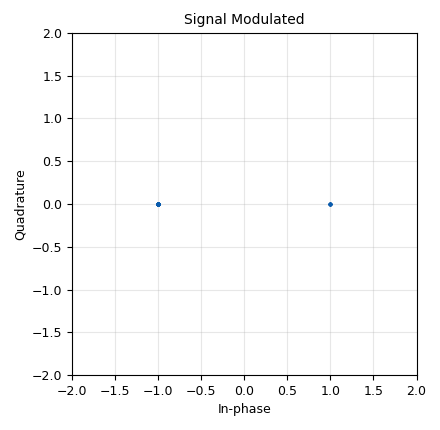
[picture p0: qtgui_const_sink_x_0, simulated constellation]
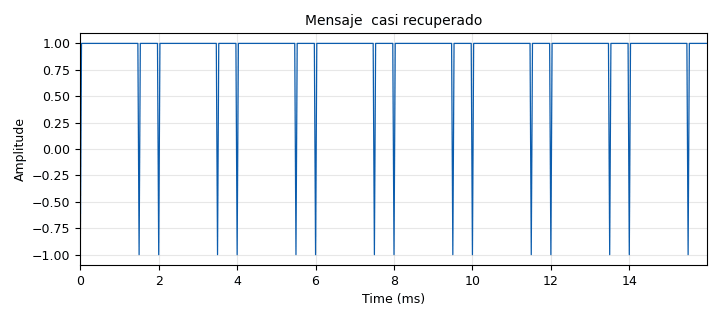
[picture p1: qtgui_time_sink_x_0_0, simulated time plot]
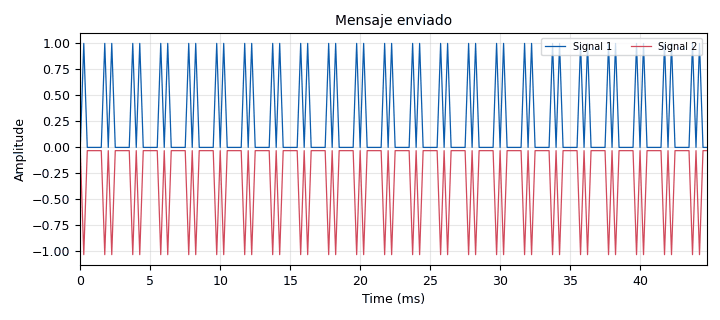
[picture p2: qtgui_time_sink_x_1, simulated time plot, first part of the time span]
options:
  parameters:
    author: Ing. Eduardo Alberto Bañales Ramirez
    description: Digital Modulation BPSK
    generate_options: qt_gui
    id: Modulation_BPSK
    output_language: python
    title: Modulation_BPSK
  states: {}

blocks:
- name: message
  id: variable
  parameters:
    value: '112'
  states: {}
- name: samp_rate
  id: variable
  parameters:
    value: '32000'
  states: {}
- name: blocks_char_to_float_0
  id: blocks_char_to_float
  parameters:
    scale: '32'
  states: {}
- name: blocks_char_to_float_0_0
  id: blocks_char_to_float
  parameters:
    scale: '1'
  states: {}
- name: blocks_char_to_float_0_0_0
  id: blocks_char_to_float
  parameters:
    scale: '1'
  states: {}
- name: blocks_char_to_float_1
  id: blocks_char_to_float
  parameters:
    scale: '1'
  states: {}
- name: blocks_complex_to_float_0
  id: blocks_complex_to_float
  parameters: {}
  states: {}
- name: blocks_delay_0
  id: blocks_delay
  parameters:
    delay: '2'
    type: float
  states: {}
- name: blocks_float_to_char_0
  id: blocks_float_to_char
  parameters:
    scale: '1'
  states: {}
- name: blocks_keep_m_in_n_0
  id: blocks_keep_m_in_n
  parameters:
    m: '1'
    n: '8'
    offset: '3'
    type: complex
  states: {}
- name: blocks_multiply_const_vxx_0
  id: blocks_multiply_const_vxx
  parameters:
    const: '-1'
    type: complex
  states: {}
- name: blocks_pack_k_bits_bb_0
  id: blocks_pack_k_bits_bb
  parameters:
    k: '8'
  states: {}
- name: blocks_repack_bits_bb_0
  id: blocks_repack_bits_bb
  parameters:
    endianness: gr.GR_MSB_FIRST
    k: '1'
    l: '8'
  states: {}
- name: blocks_throttle2_0
  id: blocks_throttle2
  parameters:
    samples_per_second: samp_rate
    type: byte
  states: {}
- name: blocks_unpack_k_bits_bb_0
  id: blocks_unpack_k_bits_bb
  parameters:
    k: '8'
  states: {}
- name: blocks_vector_source_x_0
  id: blocks_vector_source_x
  parameters:
    repeat: 'True'
    type: byte
    vector: (65,)
  states: {}
- name: channels_channel_model_0
  id: channels_channel_model
  parameters:
    epsilon: '1.0'
    freq_offset: '0.01'
    noise_voltage: '0.0'
    seed: '0'
    taps: '1.0'
  states: {}
- name: digital_binary_slicer_fb_0
  id: digital_binary_slicer_fb
  parameters: {}
  states: {}
- name: digital_constellation_modulator_0
  id: digital_constellation_modulator
  parameters:
    constellation: digital.constellation_bpsk().base()
    differential: 'False'
    excess_bw: '1'
    samples_per_symbol: '8'
  states: {}
- name: digital_costas_loop_cc_0
  id: digital_costas_loop_cc
  parameters:
    order: '2'
    w: '0.001'
  states: {}
- name: import_0
  id: import
  parameters:
    imports: import gnuradio.digital as digital
  states: {}
- name: note_0
  id: note
  parameters:
    note: coding the message
  states: {}
- name: note_1
  id: note
  parameters:
    note: '"signal successfully synchronized"'
  states: {}
- name: note_2
  id: note
  parameters:
    note: Message Recovered
  states: {}
- name: qtgui_const_sink_x_0
  id: qtgui_const_sink_x
  parameters:
    grid: 'True'
    gui_hint: qtgui_tab_widget_0@0
    name: Signal Modulated
    size: '1024'
    type: complex
  states: {}
- name: qtgui_tab_widget_0
  id: qtgui_tab_widget
  parameters:
    label0: Tab 0
    label1: Tab 1
    label2: Tab 2
    label3: Tab 3
    label4: Tab 4
    num_tabs: '5'
  states: {}
- name: qtgui_time_sink_x_0
  id: qtgui_time_sink_x
  parameters:
    autoscale: 'True'
    ctrlpanel: 'True'
    grid: 'True'
    gui_hint: qtgui_tab_widget_0@3
    name: Mensaje recuperado
    size: '512'
    srate: samp_rate
    type: float
  states: {}
- name: qtgui_time_sink_x_0_0
  id: qtgui_time_sink_x
  parameters:
    autoscale: 'True'
    ctrlpanel: 'True'
    grid: 'True'
    gui_hint: qtgui_tab_widget_0@2
    name: Mensaje  casi recuperado
    size: '512'
    srate: samp_rate
    tr_mode: qtgui.TRIG_MODE_NORM
    type: float
  states: {}
- name: qtgui_time_sink_x_1
  id: qtgui_time_sink_x
  parameters:
    autoscale: 'True'
    ctrlpanel: 'True'
    grid: 'True'
    gui_hint: qtgui_tab_widget_0@1
    name: Mensaje enviado
    nconnections: '2'
    size: '1024'
    srate: samp_rate/8
    type: float
  states: {}
- name: qtgui_time_sink_x_1_0
  id: qtgui_time_sink_x
  parameters:
    autoscale: 'True'
    ctrlpanel: 'True'
    grid: 'True'
    gui_hint: qtgui_tab_widget_0@4
    name: Mensaje enviado
    size: '1024'
    srate: samp_rate
    type: float
  states: {}
- name: virtual_sink_0
  id: virtual_sink
  parameters:
    stream_id: message_bits
  states: {}
- name: virtual_sink_1
  id: virtual_sink
  parameters:
    stream_id: synchron
  states: {}
- name: virtual_source_0
  id: virtual_source
  parameters:
    stream_id: message_bits
  states: {}
- name: virtual_source_1
  id: virtual_source
  parameters:
    stream_id: synchron
  states: {}
- name: virtual_source_2
  id: virtual_source
  parameters:
    stream_id: synchron
  states: {}

connections:
- [blocks_char_to_float_0, '0', blocks_delay_0, '0']
- [blocks_char_to_float_0_0, '0', qtgui_time_sink_x_1, '0']
- [blocks_char_to_float_0_0_0, '0', qtgui_time_sink_x_1_0, '0']
- [blocks_char_to_float_1, '0', qtgui_time_sink_x_0, '0']
- [blocks_complex_to_float_0, '0', digital_binary_slicer_fb_0, '0']
- [blocks_complex_to_float_0, '0', qtgui_time_sink_x_0_0, '0']
- [blocks_delay_0, '0', blocks_float_to_char_0, '0']
- [blocks_delay_0, '0', qtgui_time_sink_x_1, '1']
- [blocks_float_to_char_0, '0', blocks_pack_k_bits_bb_0, '0']
- [blocks_keep_m_in_n_0, '0', virtual_sink_1, '0']
- [blocks_multiply_const_vxx_0, '0', blocks_complex_to_float_0, '0']
- [blocks_pack_k_bits_bb_0, '0', blocks_char_to_float_1, '0']
- [blocks_repack_bits_bb_0, '0', blocks_char_to_float_0, '0']
- [blocks_throttle2_0, '0', blocks_char_to_float_0_0_0, '0']
- [blocks_throttle2_0, '0', blocks_unpack_k_bits_bb_0, '0']
- [blocks_unpack_k_bits_bb_0, '0', blocks_char_to_float_0_0, '0']
- [blocks_unpack_k_bits_bb_0, '0', virtual_sink_0, '0']
- [blocks_vector_source_x_0, '0', blocks_throttle2_0, '0']
- [channels_channel_model_0, '0', digital_costas_loop_cc_0, '0']
- [digital_binary_slicer_fb_0, '0', blocks_repack_bits_bb_0, '0']
- [digital_constellation_modulator_0, '0', channels_channel_model_0, '0']
- [digital_costas_loop_cc_0, '0', blocks_keep_m_in_n_0, '0']
- [virtual_source_0, '0', digital_constellation_modulator_0, '0']
- [virtual_source_1, '0', blocks_multiply_const_vxx_0, '0']
- [virtual_source_2, '0', qtgui_const_sink_x_0, '0']

metadata:
  file_format: 1
  grc_version: 3.10.9.2
